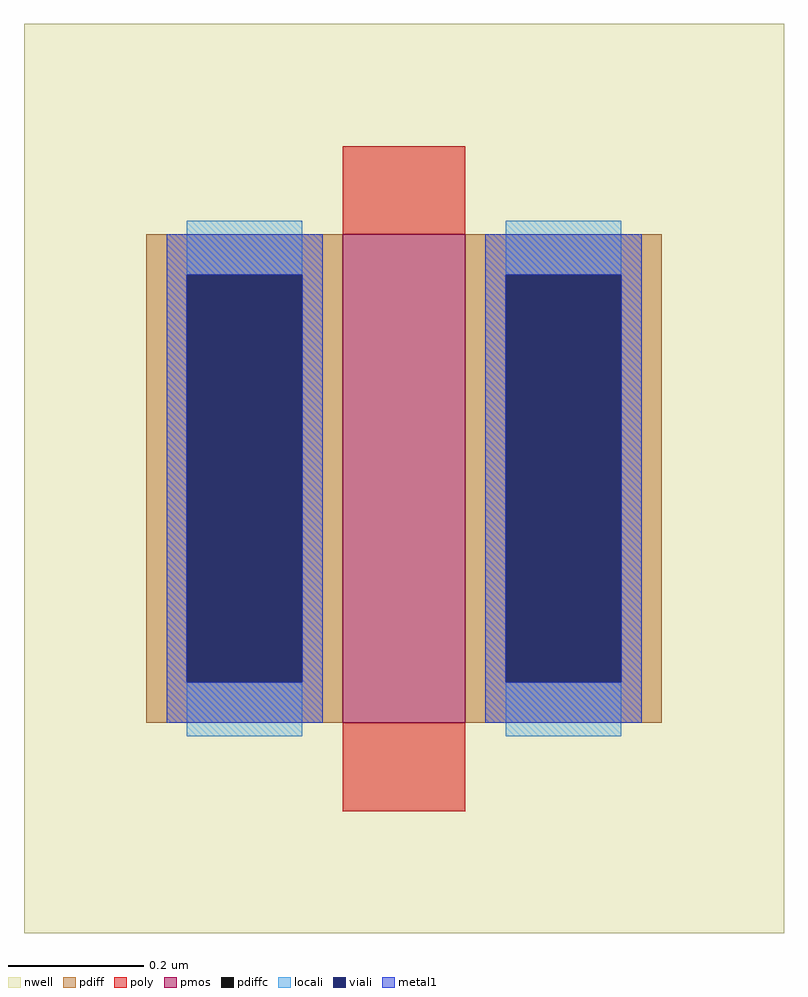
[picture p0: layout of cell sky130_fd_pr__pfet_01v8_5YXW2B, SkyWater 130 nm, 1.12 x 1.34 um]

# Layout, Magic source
magic
tech sky130A
<< nwell >>
rect -56 -67 56 67
<< pmos >>
rect -9 -36 9 36
<< pdiff >>
rect -38 30 -9 36
rect -38 -30 -32 30
rect -15 -30 -9 30
rect -38 -36 -9 -30
rect 9 30 38 36
rect 9 -30 15 30
rect 32 -30 38 30
rect 9 -36 38 -30
<< pdiffc >>
rect -32 -30 -15 30
rect 15 -30 32 30
<< poly >>
rect -9 36 9 49
rect -9 -49 9 -36
<< locali >>
rect -32 30 -15 38
rect -32 -38 -15 -30
rect 15 30 32 38
rect 15 -38 32 -30
<< viali >>
rect -32 -30 -15 30
rect 15 -30 32 30
<< metal1 >>
rect -35 30 -12 36
rect -35 -30 -32 30
rect -15 -30 -12 30
rect -35 -36 -12 -30
rect 12 30 35 36
rect 12 -30 15 30
rect 32 -30 35 30
rect 12 -36 35 -30
<< properties >>
string gencell sky130_fd_pr__pfet_01v8
string library sky130
string parameters w 0.72 l 0.18 m 1 nf 1 diffcov 100 polycov 100 guard 0 glc 0 grc 0 gtc 0 gbc 0 tbcov 100 rlcov 100 topc 0 botc 0 poverlap 0 doverlap 1 lmin 0.15 wmin 0.42 compatible {sky130_fd_pr__pfet_01v8  sky130_fd_pr__pfet_01v8_lvt sky130_fd_pr__pfet_01v8_hvt  sky130_fd_pr__pfet_g5v0d10v5} full_metal 0 viasrc 100 viadrn 100 viagate 100 viagb 0 viagr 0 viagl 0 viagt 0
<< end >>
